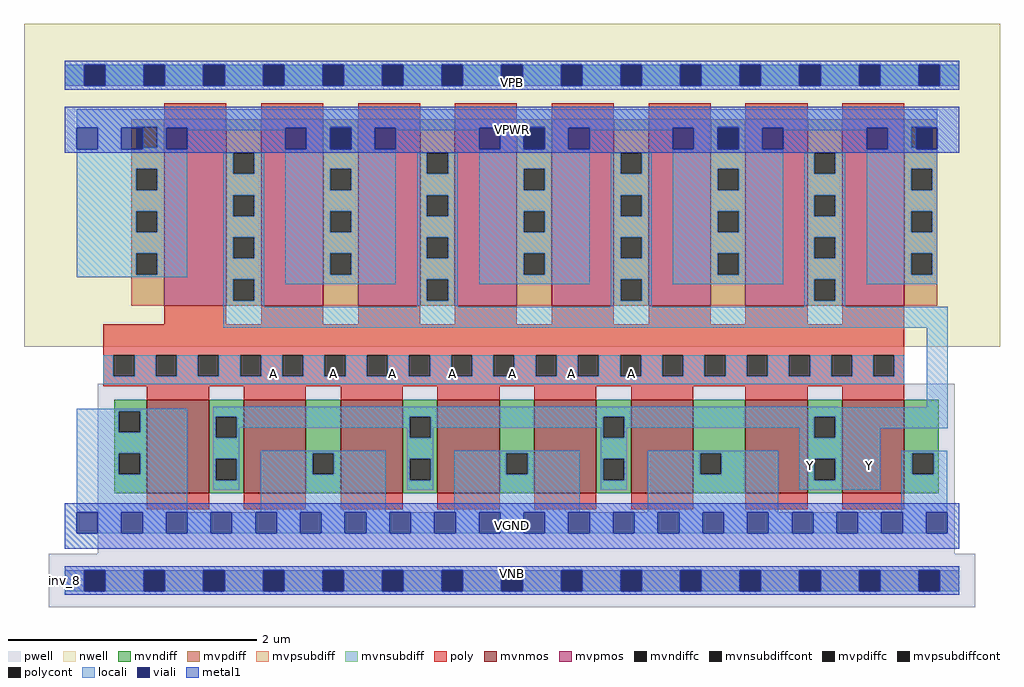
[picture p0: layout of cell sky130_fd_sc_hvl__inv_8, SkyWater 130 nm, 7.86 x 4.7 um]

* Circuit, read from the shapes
.subckt sky130_fd_sc_hvl__inv_8 A VGND VNB VPB VPWR Y
XM1 Y A VGND VNB sky130_fd_pr__nfet_g5v0d10v5 w=0.75 l=0.5 m=8
XM2 Y A VPWR VPB sky130_fd_pr__pfet_g5v0d10v5 w=1.5 l=0.5 m=8
.ends

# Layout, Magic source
magic
tech sky130A
magscale 1 2
<< nwell >>
rect -66 377 1506 897
<< pwell >>
rect 53 43 1433 317
rect -26 -43 1466 43
<< mvnmos >>
rect 132 141 232 291
rect 288 141 388 291
rect 444 141 544 291
rect 600 141 700 291
rect 756 141 856 291
rect 912 141 1012 291
rect 1096 141 1196 291
rect 1252 141 1352 291
<< mvpmos >>
rect 160 443 260 743
rect 316 443 416 743
rect 472 443 572 743
rect 628 443 728 743
rect 784 443 884 743
rect 940 443 1040 743
rect 1096 443 1196 743
rect 1252 443 1352 743
<< mvndiff >>
rect 79 273 132 291
rect 79 239 87 273
rect 121 239 132 273
rect 79 205 132 239
rect 79 171 87 205
rect 121 171 132 205
rect 79 141 132 171
rect 232 264 288 291
rect 232 230 243 264
rect 277 230 288 264
rect 232 196 288 230
rect 232 162 243 196
rect 277 162 288 196
rect 232 141 288 162
rect 388 205 444 291
rect 388 171 399 205
rect 433 171 444 205
rect 388 141 444 171
rect 544 264 600 291
rect 544 230 555 264
rect 589 230 600 264
rect 544 196 600 230
rect 544 162 555 196
rect 589 162 600 196
rect 544 141 600 162
rect 700 205 756 291
rect 700 171 711 205
rect 745 171 756 205
rect 700 141 756 171
rect 856 264 912 291
rect 856 230 867 264
rect 901 230 912 264
rect 856 196 912 230
rect 856 162 867 196
rect 901 162 912 196
rect 856 141 912 162
rect 1012 205 1096 291
rect 1012 171 1023 205
rect 1057 171 1096 205
rect 1012 141 1096 171
rect 1196 264 1252 291
rect 1196 230 1207 264
rect 1241 230 1252 264
rect 1196 196 1252 230
rect 1196 162 1207 196
rect 1241 162 1252 196
rect 1196 141 1252 162
rect 1352 205 1407 291
rect 1352 171 1365 205
rect 1399 171 1407 205
rect 1352 141 1407 171
<< mvpdiff >>
rect 107 731 160 743
rect 107 697 115 731
rect 149 697 160 731
rect 107 663 160 697
rect 107 629 115 663
rect 149 629 160 663
rect 107 595 160 629
rect 107 561 115 595
rect 149 561 160 595
rect 107 527 160 561
rect 107 493 115 527
rect 149 493 160 527
rect 107 443 160 493
rect 260 689 316 743
rect 260 655 271 689
rect 305 655 316 689
rect 260 621 316 655
rect 260 587 271 621
rect 305 587 316 621
rect 260 553 316 587
rect 260 519 271 553
rect 305 519 316 553
rect 260 485 316 519
rect 260 451 271 485
rect 305 451 316 485
rect 260 443 316 451
rect 416 731 472 743
rect 416 697 427 731
rect 461 697 472 731
rect 416 663 472 697
rect 416 629 427 663
rect 461 629 472 663
rect 416 595 472 629
rect 416 561 427 595
rect 461 561 472 595
rect 416 527 472 561
rect 416 493 427 527
rect 461 493 472 527
rect 416 443 472 493
rect 572 689 628 743
rect 572 655 583 689
rect 617 655 628 689
rect 572 621 628 655
rect 572 587 583 621
rect 617 587 628 621
rect 572 553 628 587
rect 572 519 583 553
rect 617 519 628 553
rect 572 485 628 519
rect 572 451 583 485
rect 617 451 628 485
rect 572 443 628 451
rect 728 731 784 743
rect 728 697 739 731
rect 773 697 784 731
rect 728 663 784 697
rect 728 629 739 663
rect 773 629 784 663
rect 728 595 784 629
rect 728 561 739 595
rect 773 561 784 595
rect 728 527 784 561
rect 728 493 739 527
rect 773 493 784 527
rect 728 443 784 493
rect 884 689 940 743
rect 884 655 895 689
rect 929 655 940 689
rect 884 621 940 655
rect 884 587 895 621
rect 929 587 940 621
rect 884 553 940 587
rect 884 519 895 553
rect 929 519 940 553
rect 884 485 940 519
rect 884 451 895 485
rect 929 451 940 485
rect 884 443 940 451
rect 1040 731 1096 743
rect 1040 697 1051 731
rect 1085 697 1096 731
rect 1040 663 1096 697
rect 1040 629 1051 663
rect 1085 629 1096 663
rect 1040 595 1096 629
rect 1040 561 1051 595
rect 1085 561 1096 595
rect 1040 527 1096 561
rect 1040 493 1051 527
rect 1085 493 1096 527
rect 1040 443 1096 493
rect 1196 689 1252 743
rect 1196 655 1207 689
rect 1241 655 1252 689
rect 1196 621 1252 655
rect 1196 587 1207 621
rect 1241 587 1252 621
rect 1196 553 1252 587
rect 1196 519 1207 553
rect 1241 519 1252 553
rect 1196 485 1252 519
rect 1196 451 1207 485
rect 1241 451 1252 485
rect 1196 443 1252 451
rect 1352 731 1405 743
rect 1352 697 1363 731
rect 1397 697 1405 731
rect 1352 663 1405 697
rect 1352 629 1363 663
rect 1397 629 1405 663
rect 1352 595 1405 629
rect 1352 561 1363 595
rect 1397 561 1405 595
rect 1352 527 1405 561
rect 1352 493 1363 527
rect 1397 493 1405 527
rect 1352 443 1405 493
<< mvndiffc >>
rect 87 239 121 273
rect 87 171 121 205
rect 243 230 277 264
rect 243 162 277 196
rect 399 171 433 205
rect 555 230 589 264
rect 555 162 589 196
rect 711 171 745 205
rect 867 230 901 264
rect 867 162 901 196
rect 1023 171 1057 205
rect 1207 230 1241 264
rect 1207 162 1241 196
rect 1365 171 1399 205
<< mvpdiffc >>
rect 115 697 149 731
rect 115 629 149 663
rect 115 561 149 595
rect 115 493 149 527
rect 271 655 305 689
rect 271 587 305 621
rect 271 519 305 553
rect 271 451 305 485
rect 427 697 461 731
rect 427 629 461 663
rect 427 561 461 595
rect 427 493 461 527
rect 583 655 617 689
rect 583 587 617 621
rect 583 519 617 553
rect 583 451 617 485
rect 739 697 773 731
rect 739 629 773 663
rect 739 561 773 595
rect 739 493 773 527
rect 895 655 929 689
rect 895 587 929 621
rect 895 519 929 553
rect 895 451 929 485
rect 1051 697 1085 731
rect 1051 629 1085 663
rect 1051 561 1085 595
rect 1051 493 1085 527
rect 1207 655 1241 689
rect 1207 587 1241 621
rect 1207 519 1241 553
rect 1207 451 1241 485
rect 1363 697 1397 731
rect 1363 629 1397 663
rect 1363 561 1397 595
rect 1363 493 1397 527
<< mvpsubdiff >>
rect 0 -17 31 17
rect 65 -17 127 17
rect 161 -17 223 17
rect 257 -17 319 17
rect 353 -17 415 17
rect 449 -17 511 17
rect 545 -17 607 17
rect 641 -17 703 17
rect 737 -17 799 17
rect 833 -17 895 17
rect 929 -17 991 17
rect 1025 -17 1087 17
rect 1121 -17 1183 17
rect 1217 -17 1279 17
rect 1313 -17 1375 17
rect 1409 -17 1440 17
<< mvnsubdiff >>
rect 0 797 31 831
rect 65 797 127 831
rect 161 797 223 831
rect 257 797 319 831
rect 353 797 415 831
rect 449 797 511 831
rect 545 797 607 831
rect 641 797 703 831
rect 737 797 799 831
rect 833 797 895 831
rect 929 797 991 831
rect 1025 797 1087 831
rect 1121 797 1183 831
rect 1217 797 1279 831
rect 1313 797 1375 831
rect 1409 797 1440 831
<< mvpsubdiffcont >>
rect 31 -17 65 17
rect 127 -17 161 17
rect 223 -17 257 17
rect 319 -17 353 17
rect 415 -17 449 17
rect 511 -17 545 17
rect 607 -17 641 17
rect 703 -17 737 17
rect 799 -17 833 17
rect 895 -17 929 17
rect 991 -17 1025 17
rect 1087 -17 1121 17
rect 1183 -17 1217 17
rect 1279 -17 1313 17
rect 1375 -17 1409 17
<< mvnsubdiffcont >>
rect 31 797 65 831
rect 127 797 161 831
rect 223 797 257 831
rect 319 797 353 831
rect 415 797 449 831
rect 511 797 545 831
rect 607 797 641 831
rect 703 797 737 831
rect 799 797 833 831
rect 895 797 929 831
rect 991 797 1025 831
rect 1087 797 1121 831
rect 1183 797 1217 831
rect 1279 797 1313 831
rect 1375 797 1409 831
<< poly >>
rect 160 743 260 769
rect 316 743 416 769
rect 472 743 572 769
rect 628 743 728 769
rect 784 743 884 769
rect 940 743 1040 769
rect 1096 743 1196 769
rect 1252 743 1352 769
rect 160 413 260 443
rect 316 413 416 443
rect 472 413 572 443
rect 628 413 728 443
rect 784 413 884 443
rect 940 413 1040 443
rect 1096 413 1196 443
rect 1252 413 1352 443
rect 62 363 1352 413
rect 62 329 78 363
rect 112 329 146 363
rect 180 329 214 363
rect 248 329 282 363
rect 316 329 350 363
rect 384 329 418 363
rect 452 329 486 363
rect 520 329 554 363
rect 588 329 622 363
rect 656 329 690 363
rect 724 329 758 363
rect 792 329 826 363
rect 860 329 894 363
rect 928 329 962 363
rect 996 329 1030 363
rect 1064 329 1098 363
rect 1132 329 1166 363
rect 1200 329 1234 363
rect 1268 329 1302 363
rect 1336 329 1352 363
rect 62 313 1352 329
rect 132 291 232 313
rect 288 291 388 313
rect 444 291 544 313
rect 600 291 700 313
rect 756 291 856 313
rect 912 291 1012 313
rect 1096 291 1196 313
rect 1252 291 1352 313
rect 132 115 232 141
rect 288 115 388 141
rect 444 115 544 141
rect 600 115 700 141
rect 756 115 856 141
rect 912 115 1012 141
rect 1096 115 1196 141
rect 1252 115 1352 141
<< polycont >>
rect 78 329 112 363
rect 146 329 180 363
rect 214 329 248 363
rect 282 329 316 363
rect 350 329 384 363
rect 418 329 452 363
rect 486 329 520 363
rect 554 329 588 363
rect 622 329 656 363
rect 690 329 724 363
rect 758 329 792 363
rect 826 329 860 363
rect 894 329 928 363
rect 962 329 996 363
rect 1030 329 1064 363
rect 1098 329 1132 363
rect 1166 329 1200 363
rect 1234 329 1268 363
rect 1302 329 1336 363
<< locali >>
rect 0 797 31 831
rect 65 797 127 831
rect 161 797 223 831
rect 257 797 319 831
rect 353 797 415 831
rect 449 797 511 831
rect 545 797 607 831
rect 641 797 703 831
rect 737 797 799 831
rect 833 797 895 831
rect 929 797 991 831
rect 1025 797 1087 831
rect 1121 797 1183 831
rect 1217 797 1279 831
rect 1313 797 1375 831
rect 1409 797 1440 831
rect 19 731 1405 759
rect 19 729 115 731
rect 149 729 427 731
rect 461 729 739 731
rect 773 729 1051 731
rect 1085 729 1363 731
rect 1397 729 1405 731
rect 53 695 91 729
rect 149 697 163 729
rect 125 695 163 697
rect 197 725 355 729
rect 19 663 197 695
rect 389 695 427 729
rect 461 695 499 729
rect 533 725 667 729
rect 19 629 115 663
rect 149 629 197 663
rect 19 595 197 629
rect 19 561 115 595
rect 149 561 197 595
rect 19 527 197 561
rect 19 493 115 527
rect 149 493 197 527
rect 19 489 197 493
rect 255 655 271 689
rect 305 655 321 689
rect 255 621 321 655
rect 255 587 271 621
rect 305 587 321 621
rect 255 553 321 587
rect 255 519 271 553
rect 305 519 321 553
rect 255 485 321 519
rect 255 451 271 485
rect 305 451 321 485
rect 355 663 533 695
rect 701 695 739 729
rect 773 695 811 729
rect 845 725 979 729
rect 355 629 427 663
rect 461 629 533 663
rect 355 595 533 629
rect 355 561 427 595
rect 461 561 533 595
rect 355 527 533 561
rect 355 493 427 527
rect 461 493 533 527
rect 355 477 533 493
rect 567 655 583 689
rect 617 655 633 689
rect 567 621 633 655
rect 567 587 583 621
rect 617 587 633 621
rect 567 553 633 587
rect 567 519 583 553
rect 617 519 633 553
rect 567 485 633 519
rect 255 441 321 451
rect 567 451 583 485
rect 617 451 633 485
rect 667 663 845 695
rect 1013 695 1051 729
rect 1085 695 1123 729
rect 1157 725 1291 729
rect 667 629 739 663
rect 773 629 845 663
rect 667 595 845 629
rect 667 561 739 595
rect 773 561 845 595
rect 667 527 845 561
rect 667 493 739 527
rect 773 493 845 527
rect 667 477 845 493
rect 879 655 895 689
rect 929 655 945 689
rect 879 621 945 655
rect 879 587 895 621
rect 929 587 945 621
rect 879 553 945 587
rect 879 519 895 553
rect 929 519 945 553
rect 879 485 945 519
rect 567 441 633 451
rect 879 451 895 485
rect 929 451 945 485
rect 979 663 1157 695
rect 1325 697 1363 729
rect 1325 695 1371 697
rect 979 629 1051 663
rect 1085 629 1157 663
rect 979 595 1157 629
rect 979 561 1051 595
rect 1085 561 1157 595
rect 979 527 1157 561
rect 979 493 1051 527
rect 1085 493 1157 527
rect 979 477 1157 493
rect 1191 655 1207 689
rect 1241 655 1257 689
rect 1191 621 1257 655
rect 1191 587 1207 621
rect 1241 587 1257 621
rect 1191 553 1257 587
rect 1191 519 1207 553
rect 1241 519 1257 553
rect 1191 485 1257 519
rect 879 441 945 451
rect 1191 451 1207 485
rect 1241 451 1257 485
rect 1291 663 1405 695
rect 1291 629 1363 663
rect 1397 629 1405 663
rect 1291 595 1405 629
rect 1291 561 1363 595
rect 1397 561 1405 595
rect 1291 527 1405 561
rect 1291 493 1363 527
rect 1397 493 1405 527
rect 1291 477 1405 493
rect 1191 441 1257 451
rect 255 407 1422 441
rect 62 329 78 363
rect 112 329 146 363
rect 180 329 214 363
rect 248 329 282 363
rect 316 329 350 363
rect 384 329 418 363
rect 452 329 486 363
rect 520 329 554 363
rect 588 329 622 363
rect 656 329 690 363
rect 724 329 758 363
rect 792 329 826 363
rect 860 329 894 363
rect 928 329 962 363
rect 996 329 1030 363
rect 1064 329 1098 363
rect 1132 329 1166 363
rect 1200 329 1234 363
rect 1268 329 1302 363
rect 1336 329 1352 363
rect 62 316 1352 329
rect 239 279 1245 280
rect 1388 279 1422 407
rect 19 273 197 277
rect 19 239 87 273
rect 121 239 197 273
rect 19 205 197 239
rect 19 171 87 205
rect 121 171 197 205
rect 19 110 197 171
rect 239 264 1422 279
rect 239 230 243 264
rect 277 246 555 264
rect 277 230 281 246
rect 239 196 281 230
rect 551 230 555 246
rect 589 246 867 264
rect 589 230 593 246
rect 239 162 243 196
rect 277 162 281 196
rect 239 146 281 162
rect 315 205 517 209
rect 315 171 399 205
rect 433 171 517 205
rect 315 110 517 171
rect 551 196 593 230
rect 863 230 867 246
rect 901 246 1207 264
rect 901 230 905 246
rect 551 162 555 196
rect 589 162 593 196
rect 551 146 593 162
rect 627 205 829 209
rect 627 171 711 205
rect 745 171 829 205
rect 627 110 829 171
rect 863 196 905 230
rect 1183 230 1207 246
rect 1241 245 1422 264
rect 1241 230 1313 245
rect 863 162 867 196
rect 901 162 905 196
rect 863 146 905 162
rect 939 205 1149 209
rect 939 171 1023 205
rect 1057 171 1149 205
rect 939 110 1149 171
rect 1183 196 1313 230
rect 1183 162 1207 196
rect 1241 162 1313 196
rect 1183 146 1313 162
rect 1347 205 1421 209
rect 1347 171 1365 205
rect 1399 171 1421 205
rect 1347 110 1421 171
rect 53 76 91 110
rect 125 76 163 110
rect 197 76 235 110
rect 269 76 307 110
rect 341 76 379 110
rect 413 76 451 110
rect 485 76 523 110
rect 557 76 595 110
rect 629 76 667 110
rect 701 76 739 110
rect 773 76 811 110
rect 845 76 883 110
rect 917 76 955 110
rect 989 76 1027 110
rect 1061 76 1099 110
rect 1133 76 1171 110
rect 1205 76 1243 110
rect 1277 76 1315 110
rect 1349 76 1387 110
rect 0 -17 31 17
rect 65 -17 127 17
rect 161 -17 223 17
rect 257 -17 319 17
rect 353 -17 415 17
rect 449 -17 511 17
rect 545 -17 607 17
rect 641 -17 703 17
rect 737 -17 799 17
rect 833 -17 895 17
rect 929 -17 991 17
rect 1025 -17 1087 17
rect 1121 -17 1183 17
rect 1217 -17 1279 17
rect 1313 -17 1375 17
rect 1409 -17 1440 17
<< viali >>
rect 31 797 65 831
rect 127 797 161 831
rect 223 797 257 831
rect 319 797 353 831
rect 415 797 449 831
rect 511 797 545 831
rect 607 797 641 831
rect 703 797 737 831
rect 799 797 833 831
rect 895 797 929 831
rect 991 797 1025 831
rect 1087 797 1121 831
rect 1183 797 1217 831
rect 1279 797 1313 831
rect 1375 797 1409 831
rect 19 695 53 729
rect 91 697 115 729
rect 115 697 125 729
rect 91 695 125 697
rect 163 695 197 729
rect 355 695 389 729
rect 427 697 461 729
rect 427 695 461 697
rect 499 695 533 729
rect 667 695 701 729
rect 739 697 773 729
rect 739 695 773 697
rect 811 695 845 729
rect 979 695 1013 729
rect 1051 697 1085 729
rect 1051 695 1085 697
rect 1123 695 1157 729
rect 1291 695 1325 729
rect 1371 697 1397 729
rect 1397 697 1405 729
rect 1371 695 1405 697
rect 19 76 53 110
rect 91 76 125 110
rect 163 76 197 110
rect 235 76 269 110
rect 307 76 341 110
rect 379 76 413 110
rect 451 76 485 110
rect 523 76 557 110
rect 595 76 629 110
rect 667 76 701 110
rect 739 76 773 110
rect 811 76 845 110
rect 883 76 917 110
rect 955 76 989 110
rect 1027 76 1061 110
rect 1099 76 1133 110
rect 1171 76 1205 110
rect 1243 76 1277 110
rect 1315 76 1349 110
rect 1387 76 1421 110
rect 31 -17 65 17
rect 127 -17 161 17
rect 223 -17 257 17
rect 319 -17 353 17
rect 415 -17 449 17
rect 511 -17 545 17
rect 607 -17 641 17
rect 703 -17 737 17
rect 799 -17 833 17
rect 895 -17 929 17
rect 991 -17 1025 17
rect 1087 -17 1121 17
rect 1183 -17 1217 17
rect 1279 -17 1313 17
rect 1375 -17 1409 17
<< metal1 >>
rect 0 831 1440 837
rect 0 797 31 831
rect 65 797 127 831
rect 161 797 223 831
rect 257 797 319 831
rect 353 797 415 831
rect 449 797 511 831
rect 545 797 607 831
rect 641 797 703 831
rect 737 797 799 831
rect 833 797 895 831
rect 929 797 991 831
rect 1025 797 1087 831
rect 1121 797 1183 831
rect 1217 797 1279 831
rect 1313 797 1375 831
rect 1409 797 1440 831
rect 0 791 1440 797
rect 0 729 1440 763
rect 0 695 19 729
rect 53 695 91 729
rect 125 695 163 729
rect 197 695 355 729
rect 389 695 427 729
rect 461 695 499 729
rect 533 695 667 729
rect 701 695 739 729
rect 773 695 811 729
rect 845 695 979 729
rect 1013 695 1051 729
rect 1085 695 1123 729
rect 1157 695 1291 729
rect 1325 695 1371 729
rect 1405 695 1440 729
rect 0 689 1440 695
rect 0 110 1440 125
rect 0 76 19 110
rect 53 76 91 110
rect 125 76 163 110
rect 197 76 235 110
rect 269 76 307 110
rect 341 76 379 110
rect 413 76 451 110
rect 485 76 523 110
rect 557 76 595 110
rect 629 76 667 110
rect 701 76 739 110
rect 773 76 811 110
rect 845 76 883 110
rect 917 76 955 110
rect 989 76 1027 110
rect 1061 76 1099 110
rect 1133 76 1171 110
rect 1205 76 1243 110
rect 1277 76 1315 110
rect 1349 76 1387 110
rect 1421 76 1440 110
rect 0 51 1440 76
rect 0 17 1440 23
rect 0 -17 31 17
rect 65 -17 127 17
rect 161 -17 223 17
rect 257 -17 319 17
rect 353 -17 415 17
rect 449 -17 511 17
rect 545 -17 607 17
rect 641 -17 703 17
rect 737 -17 799 17
rect 833 -17 895 17
rect 929 -17 991 17
rect 1025 -17 1087 17
rect 1121 -17 1183 17
rect 1217 -17 1279 17
rect 1313 -17 1375 17
rect 1409 -17 1440 17
rect 0 -23 1440 -17
<< labels >>
rlabel comment s 0 0 0 0 4 inv_8
flabel metal1 s 0 0 1440 23 0 FreeSans 340 0 0 0 VNB
flabel metal1 s 0 51 1440 125 0 FreeSans 340 0 0 0 VGND
flabel metal1 s 720 11 720 11 0 FreeSans 340 0 0 0 VNB
flabel metal1 s 0 689 1440 763 0 FreeSans 340 0 0 0 VPWR
flabel metal1 s 0 791 1440 814 0 FreeSans 340 0 0 0 VPB
flabel metal1 s 720 802 720 802 0 FreeSans 340 0 0 0 VPB
flabel locali s 1183 168 1217 202 0 FreeSans 340 0 0 0 Y
flabel locali s 1279 168 1313 202 0 FreeSans 340 0 0 0 Y
flabel locali s 319 316 353 350 0 FreeSans 340 0 0 0 A
flabel locali s 415 316 449 350 0 FreeSans 340 0 0 0 A
flabel locali s 511 316 545 350 0 FreeSans 340 0 0 0 A
flabel locali s 607 316 641 350 0 FreeSans 340 0 0 0 A
flabel locali s 703 316 737 350 0 FreeSans 340 0 0 0 A
flabel locali s 799 316 833 350 0 FreeSans 340 0 0 0 A
flabel locali s 895 316 929 350 0 FreeSans 340 0 0 0 A
<< properties >>
string FIXED_BBOX 0 0 1440 814
<< end >>
